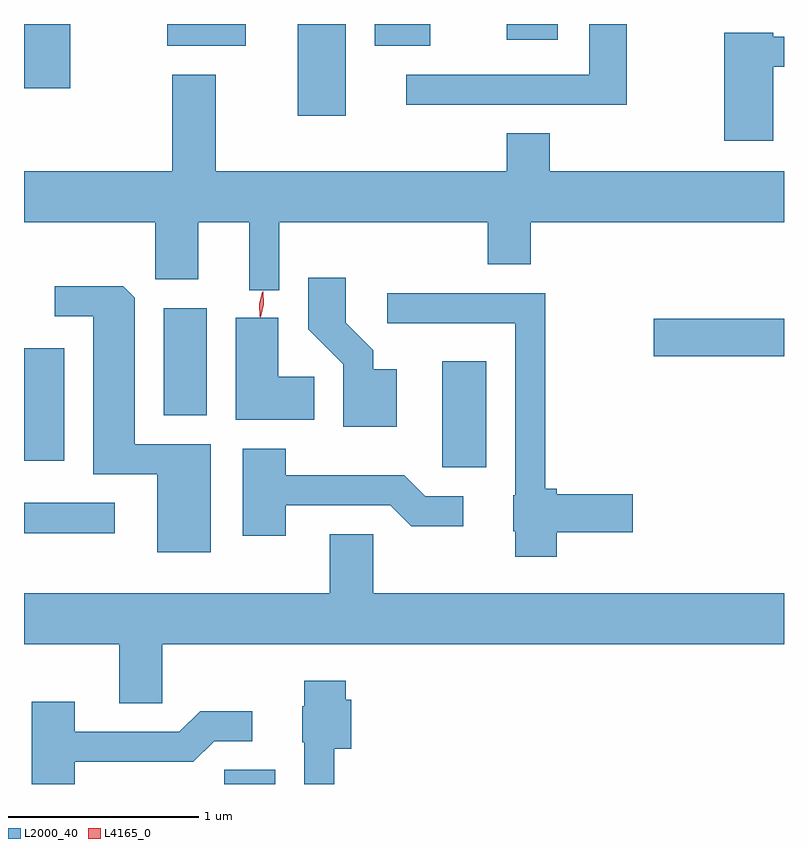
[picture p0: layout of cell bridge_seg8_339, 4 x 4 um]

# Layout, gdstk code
import gdstk
lib = gdstk.Library(unit=1e-6, precision=1e-09)
def R(c, l, rs):  # rectangles x0, y0, x1, y1
    for r in rs: c.add(gdstk.rectangle(r[:2], r[2:], *l))
def P(c, l, *ps):  # polygons
    for p in ps: c.add(gdstk.Polygon(p, *l))
L2000_40 = (2000, 40)
L4165_0 = (4165, 0)

bridge_seg8_339 = lib.new_cell('bridge_seg8_339')
R(bridge_seg8_339, L2000_40, [(622.966,1922.26,623.234,1922.334), (621.911,1923.581,622.388,1923.739), (624.111,1923.926,624.344,1924.484), (621.911,1923.961,622.124,1924.554), (622.646,1924.201,622.874,1924.764), (625.226,1924.511,625.911,1924.709), (623.351,1925.776,623.604,1926.26), (621.911,1925.921,622.154,1926.26), (622.666,1926.146,623.079,1926.26), (623.756,1926.146,624.049,1926.26), (624.451,1926.176,624.719,1926.26)])
P(bridge_seg8_339, L2000_40, [(625.084,1926.26),(624.886,1926.26),(624.886,1925.994),(623.923,1925.994),(623.923,1925.836),(625.084,1925.836)],
  [(625.854,1926.036),(625.911,1926.036),(625.911,1926.194),(625.854,1926.194),(625.854,1926.214),(625.596,1926.214),(625.596,1925.646),(625.854,1925.646)],
  [(623.254,1925.216),(624.351,1925.216),(624.351,1924.996),(624.579,1924.996),(624.579,1925.216),(625.911,1925.216),(625.911,1925.484),(624.679,1925.484),(624.679,1925.684),(624.451,1925.684),(624.451,1925.484),(622.919,1925.484),(622.919,1925.994),(622.691,1925.994),(622.691,1925.484),(621.911,1925.484),(621.911,1925.216),(622.601,1925.216),(622.601,1924.916),(622.829,1924.916),(622.829,1925.216),(623.096,1925.216),(623.096,1924.858),(623.254,1924.858)],
  [(623.874,1924.444),(623.749,1924.444),(623.749,1924.542),(623.604,1924.687),(623.604,1924.924),(623.406,1924.924),(623.406,1924.654),(623.591,1924.469),(623.591,1924.141),(623.874,1924.141)],
  [(622.894,1924.049),(622.494,1924.049),(622.494,1924.819),(622.434,1924.879),(622.073,1924.879),(622.073,1924.721),(622.276,1924.721),(622.276,1923.891),(622.611,1923.891),(622.611,1923.481),(622.894,1923.481)],
  [(624.714,1923.586),(625.114,1923.586),(625.114,1923.784),(624.714,1923.784),(624.714,1923.814),(624.654,1923.814),(624.654,1924.844),(623.823,1924.844),(623.823,1924.686),(624.496,1924.686),(624.496,1923.78),(624.486,1923.78),(624.486,1923.59),(624.496,1923.59),(624.496,1923.456),(624.714,1923.456)],
  [(623.439,1924.404),(623.249,1924.404),(623.249,1924.714),(623.026,1924.714),(623.026,1924.176),(623.439,1924.176)],
  [(623.289,1923.726),(623.839,1923.726),(623.949,1923.616),(624.223,1923.616),(624.223,1923.774),(624.022,1923.774),(623.912,1923.884),(623.289,1923.884),(623.289,1924.024),(623.061,1924.024),(623.061,1923.566),(623.289,1923.566)],
  [(622.639,1922.996),(625.911,1922.996),(625.911,1923.264),(623.749,1923.264),(623.749,1923.574),(623.521,1923.574),(623.521,1923.264),(621.911,1923.264),(621.911,1922.996),(622.411,1922.996),(622.411,1922.686),(622.639,1922.686)],
  [(623.544,1922.446),(623.634,1922.446),(623.634,1922.704),(623.604,1922.704),(623.604,1922.804),(623.386,1922.804),(623.386,1922.67),(623.376,1922.67),(623.376,1922.48),(623.386,1922.48),(623.386,1922.26),(623.544,1922.26)],
  [(622.179,1922.376),(622.802,1922.376),(622.912,1922.486),(623.113,1922.486),(623.113,1922.644),(622.839,1922.644),(622.729,1922.534),(622.179,1922.534),(622.179,1922.694),(621.951,1922.694),(621.951,1922.26),(622.179,1922.26)])
P(bridge_seg8_339, L4165_0, [(623.158,1924.716),(623.157,1924.717),(623.153,1924.786),(623.169,1924.854),(623.169,1924.854),(623.17,1924.854),(623.173,1924.785),(623.158,1924.717)],
  [(623.153,1924.72),(623.149,1924.786),(623.164,1924.851),(623.164,1924.852),(623.165,1924.851),(623.169,1924.785),(623.154,1924.72),(623.154,1924.72)])

lib.write_gds('bridge_seg8_339.gds')
